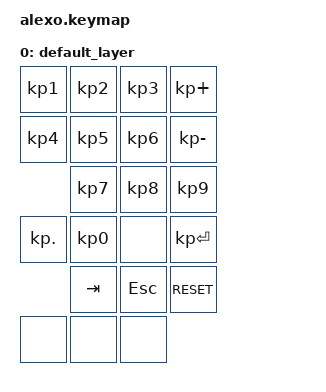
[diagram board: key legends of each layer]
#include <behaviors.dtsi>
#include <dt-bindings/zmk/keys.h>
#include <dt-bindings/zmk/bt.h>

/{
    keymap {
        compatible = "zmk,keymap";

        default_layer {
            bindings = <
                &kp KP_N1      &kp KP_N2      &kp KP_N3      &kp KP_PLUS
                &kp KP_N4      &kp KP_N5      &kp KP_N6      &kp KP_MINUS
                               &kp KP_N7      &kp KP_N8      &kp KP_N9
                &kp KP_DOT     &kp KP_0       &none          &kp KP_ENTER
                               &kp TAB        &kp ESC        &kp RESET  
                &none          &none          &none       
            >;
        };
    };
};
